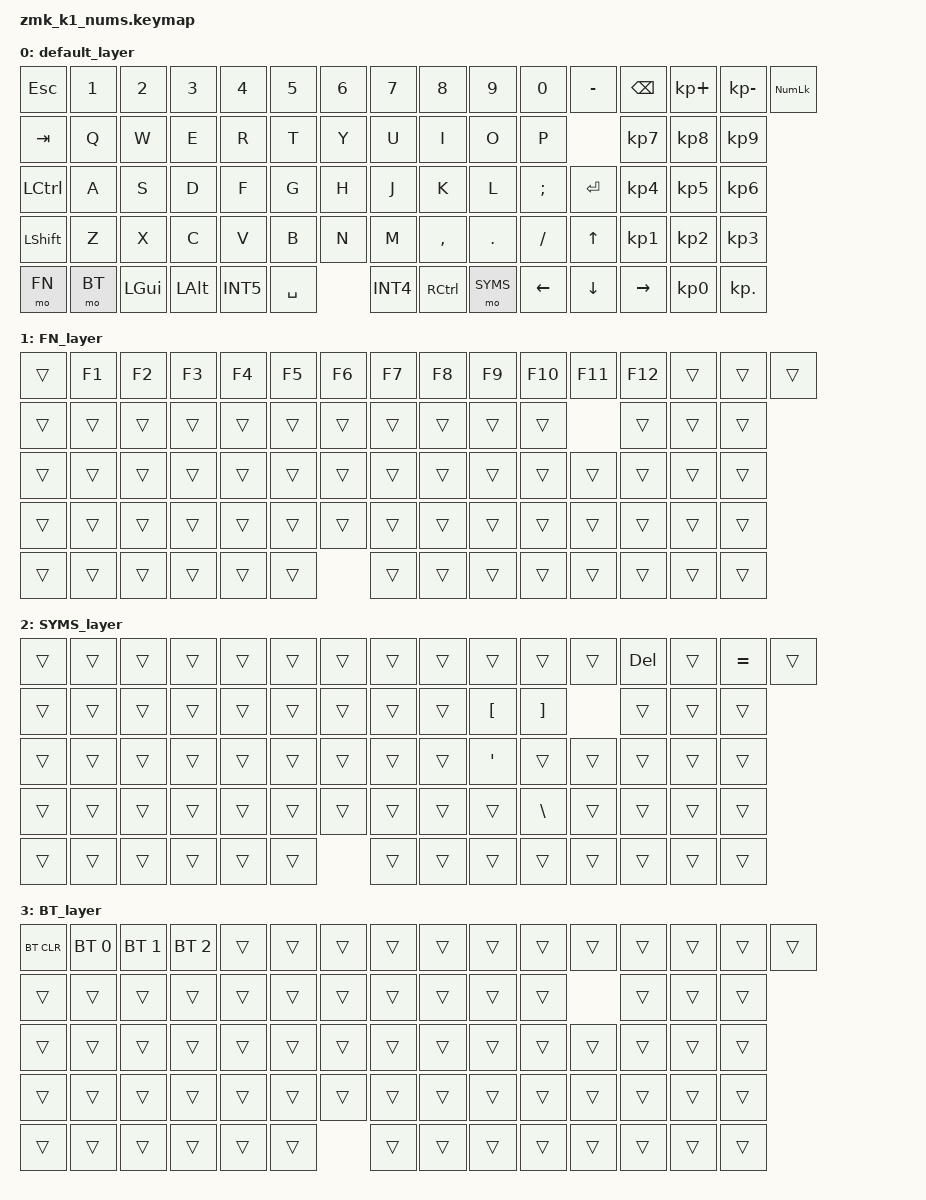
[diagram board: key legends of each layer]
#include <behaviors.dtsi>
#include <dt-bindings/zmk/bt.h>
#include <dt-bindings/zmk/keys.h>

#define DEFAULT 0
#define FN   1
#define SYMS   2
#define BT   3

/ {
    keymap {
        compatible = "zmk,keymap";

        default_layer {
            bindings = <
&kp ESC     &kp N1  &kp N2    &kp N3    &kp N4    &kp N5     &kp N6  &kp N7    &kp N8     &kp N9      &kp N0     &kp MINUS  &kp BSPC   &kp KP_PLUS  &kp KP_MINUS  &kp KP_NUM
&kp TAB     &kp Q   &kp W     &kp E     &kp R     &kp T      &kp Y   &kp U     &kp I      &kp O       &kp P                 &kp KP_N7  &kp KP_N8    &kp KP_N9
&kp LCTRL   &kp A   &kp S     &kp D     &kp F     &kp G      &kp H   &kp J     &kp K      &kp L       &kp SEMI   &kp ENTER  &kp KP_N4  &kp KP_N5    &kp KP_N6
&kp LSHIFT  &kp Z   &kp X     &kp C     &kp V     &kp B      &kp N   &kp M     &kp COMMA  &kp PERIOD  &kp SLASH  &kp UP     &kp KP_N1  &kp KP_N2    &kp KP_N3
&mo FN      &mo BT  &kp LGUI  &kp LALT  &kp INT5  &kp SPACE          &kp INT4  &kp RCTRL  &mo SYMS    &kp LEFT   &kp DOWN   &kp RIGHT  &kp KP_N0    &kp KP_DOT
            >;
        };

        FN_layer {
            bindings = <
&trans  &kp F1  &kp F2  &kp F3  &kp F4  &kp F5  &kp F6  &kp F7  &kp F8  &kp F9  &kp F10  &kp F11  &kp F12  &trans  &trans  &trans
&trans  &trans  &trans  &trans  &trans  &trans  &trans  &trans  &trans  &trans  &trans            &trans   &trans  &trans
&trans  &trans  &trans  &trans  &trans  &trans  &trans  &trans  &trans  &trans  &trans   &trans   &trans   &trans  &trans
&trans  &trans  &trans  &trans  &trans  &trans  &trans  &trans  &trans  &trans  &trans   &trans   &trans   &trans  &trans
&trans  &trans  &trans  &trans  &trans  &trans          &trans  &trans  &trans  &trans   &trans   &trans   &trans  &trans
            >;
        };

        SYMS_layer {
            bindings = <
&trans  &trans  &trans  &trans  &trans  &trans  &trans  &trans  &trans  &trans            &trans    &trans  &kp DEL  &trans  &kp EQUAL  &trans
&trans  &trans  &trans  &trans  &trans  &trans  &trans  &trans  &trans  &kp LBKT          &kp RBKT          &trans   &trans  &trans
&trans  &trans  &trans  &trans  &trans  &trans  &trans  &trans  &trans  &kp SINGLE_QUOTE  &trans    &trans  &trans   &trans  &trans
&trans  &trans  &trans  &trans  &trans  &trans  &trans  &trans  &trans  &trans            &kp BSLH  &trans  &trans   &trans  &trans
&trans  &trans  &trans  &trans  &trans  &trans          &trans  &trans  &trans            &trans    &trans  &trans   &trans  &trans
            >;
        };

        BT_layer {
            bindings = <
&bt BT_CLR  &bt BT_SEL 0  &bt BT_SEL 1  &bt BT_SEL 2  &trans  &trans  &trans  &trans  &trans  &trans  &trans  &trans  &trans  &trans  &trans  &trans
&trans      &trans        &trans        &trans        &trans  &trans  &trans  &trans  &trans  &trans  &trans          &trans  &trans  &trans
&trans      &trans        &trans        &trans        &trans  &trans  &trans  &trans  &trans  &trans  &trans  &trans  &trans  &trans  &trans
&trans      &trans        &trans        &trans        &trans  &trans  &trans  &trans  &trans  &trans  &trans  &trans  &trans  &trans  &trans
&trans      &trans        &trans        &trans        &trans  &trans          &trans  &trans  &trans  &trans  &trans  &trans  &trans  &trans
            >;
        };
    };
};
